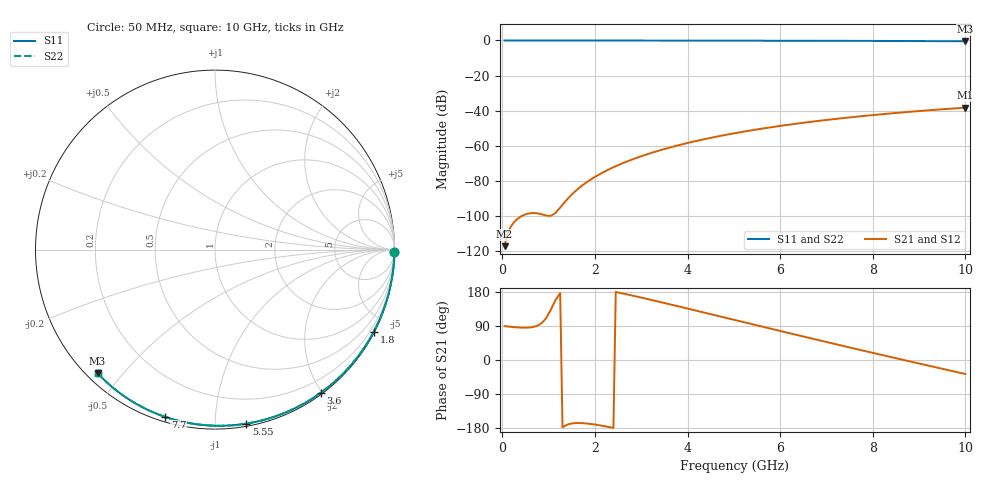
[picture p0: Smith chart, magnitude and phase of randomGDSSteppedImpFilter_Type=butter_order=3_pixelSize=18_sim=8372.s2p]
! freq	dB(S11)	phase(S11)	dB(S12)	phase(S12)
!  dB(S21)	phase(S21)	dB(S22)	phase(S22)
!S-par simulation data
#  GHz  S  DB  R 50
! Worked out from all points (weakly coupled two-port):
!   200 points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, 50 MHz to 10 GHz, reference 50 ohm
!   highest |S21| = -38.33 dB at 10 GHz (marker M1); lowest = -117.4 dB at 50 MHz (marker M2)
!   lowest |S11| = -0.4 dB at 10 GHz (marker M3), VSWR 38.72, Z = 1.53 - j21.4 ohm
!   |S11| at or under -10 dB: nowhere
!   |S22| runs from -0.4 to 0.0 dB; largest |S21 - S12| = 0
!   S11 on the Smith chart (normalised r, x): 50 MHz: open; 1.8 GHz: 0.04, -4.11; 3.6 GHz: 0.02, -1.99; 5.55 GHz: 0.02, -1.20; 7.7 GHz: 0.02, -0.75; 10 GHz: 0.03, -0.43
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0.05  -0.00 -0.8  -117.36 89.3  -117.36 89.3  -0.00 -0.8
0.9  -0.02 -13.8  -99.55 103.8  -99.55 103.8  -0.02 -13.8
1.75  -0.03 -26.6  -82.26 -166.8  -82.26 -166.8  -0.03 -26.6
1.8  -0.03 -27.3  -81.30 -167.3  -81.30 -167.3  -0.03 -27.3
1.85  -0.04 -28.1  -80.39 -167.9  -80.39 -167.9  -0.04 -28.1
1.9  -0.04 -28.8  -79.51 -168.6  -79.51 -168.6  -0.04 -28.8
2.05  -0.04 -31.0  -77.08 -171.3  -77.08 -171.3  -0.04 -31.1
2.25  -0.04 -34.0  -74.23 -175.6  -74.23 -175.6  -0.04 -34.0
2.45  -0.05 -36.9  -71.72 179.5  -71.72 179.5  -0.05 -36.9
2.65  -0.05 -39.8  -69.48 174.3  -69.48 174.3  -0.05 -39.9
3  -0.06 -44.9  -66.04 164.7  -66.04 164.7  -0.06 -44.9
3.4  -0.07 -50.6  -62.69 153.3  -62.69 153.3  -0.07 -50.6
3.6  -0.07 -53.4  -61.20 147.5  -61.20 147.5  -0.07 -53.4
4.3  -0.09 -63.1  -56.68 126.9  -56.68 126.9  -0.09 -63.2
5.05  -0.11 -73.2  -52.76 104.7  -52.76 104.7  -0.11 -73.3
5.55  -0.13 -79.8  -50.54 89.9  -50.54 89.9  -0.13 -79.8
6.1  -0.15 -86.9  -48.38 73.7  -48.38 73.7  -0.15 -86.9
6.7  -0.18 -94.4  -46.30 56.1  -46.30 56.1  -0.18 -94.4
7.7  -0.24 -106.6  -43.35 27.3  -43.35 27.3  -0.24 -106.6
8.35  -0.29 -114.3  -41.71 8.9  -41.71 8.9  -0.29 -114.3
9.15  -0.36 -123.7  -39.95 -13.5  -39.95 -13.5  -0.36 -123.7
10  -0.45 -133.5  -38.33 -37.0  -38.33 -37.0  -0.45 -133.6
